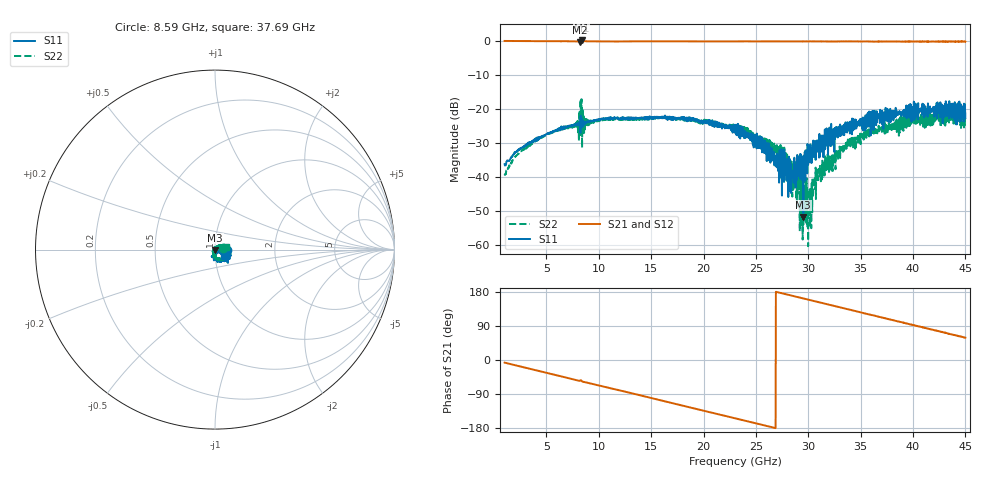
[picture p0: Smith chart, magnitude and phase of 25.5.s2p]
!Keysight Technologies,N5247B,MY61255062,A.19.80.06
!Date: Tuesday, May 26, 2026 12:03:05
!Correction: S11(C  2-Port  )
!S21(C  2-Port  )
!S12(C  2-Port  )
!S22(C  2-Port  )
!S2P File: Measurements: S11, S21, S12, S22:
# Hz S  dB  R 50
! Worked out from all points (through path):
!   1601 points, 1 GHz to 45 GHz, reference 50 ohm
!   highest |S21| = 0.08 dB at 8.342 GHz (marker M1); lowest = -0.4 dB at 8.205 GHz (marker M2)
!   group delay of S21, straight-line fit = 18.6 ps
!   lowest |S11| = -51.7 dB at 29.52 GHz (marker M3), VSWR 1.01, Z = 50.1 - j0.254 ohm
!   |S11| at or under -10 dB: start of sweep to end of sweep
!   |S22| runs from -60.3 to -17.2 dB; largest |S21 - S12| = 0.019
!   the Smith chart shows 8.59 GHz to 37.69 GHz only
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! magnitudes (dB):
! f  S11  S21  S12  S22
! 1 GHz  -36.2  -0.1  -0.1  -39.2
! 2.705 GHz  -31.2  -0.1  -0.1  -32.1
! 8.205 GHz  -23.8  -0.4  -0.4  -27.7
! 8.342 GHz  -22.8  0.1  0.1  -17.2
! 8.617 GHz  -24.5  -0.1  -0.1  -23.0
! 15.69 GHz  -22.7  -0.2  -0.2  -22.7
! 23 GHz  -24.7  -0.2  -0.2  -24.8
! 25.31 GHz  -31.5  -0.2  -0.2  -28.3
! 27.48 GHz  -45.4  -0.2  -0.2  -34.5
! 28.47 GHz  -38.6  -0.2  -0.2  -45.7
! 28.91 GHz  -40.9  -0.2  -0.2  -48.8
! 29.41 GHz  -34.3  -0.2  -0.2  -39.5
! 29.52 GHz  -51.7  -0.2  -0.2  -46.4
! 30.09 GHz  -31.5  -0.2  -0.2  -44.5
! 30.34 GHz  -33.0  -0.2  -0.2  -43.4
! 30.62 GHz  -32.0  -0.2  -0.2  -40.4
! 30.98 GHz  -31.9  -0.2  -0.2  -37.7
! 32.19 GHz  -24.4  -0.2  -0.2  -35.6
! 33.75 GHz  -23.9  -0.2  -0.2  -29.9
! 37.69 GHz  -23.8  -0.3  -0.2  -24.2
! 43.16 GHz  -22.0  -0.2  -0.2  -24.0
! 45 GHz  -22.7  -0.2  -0.3  -21.0
